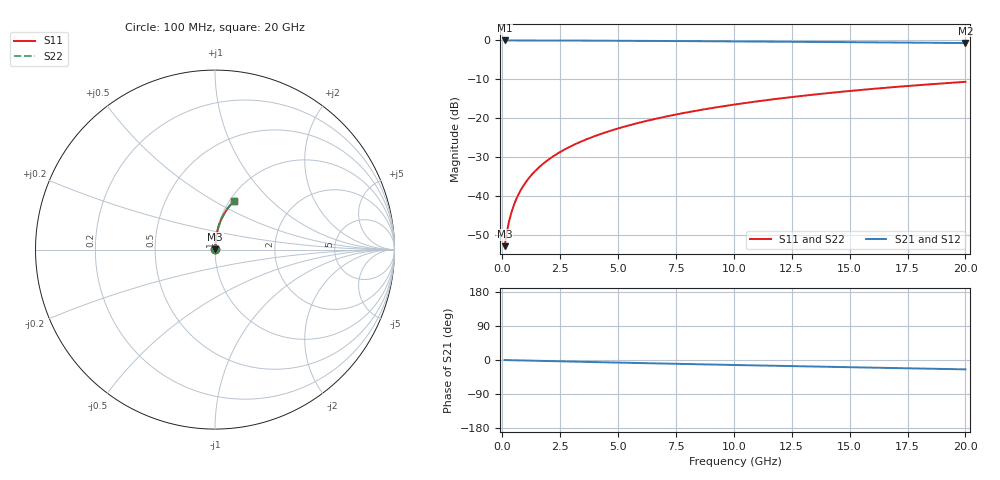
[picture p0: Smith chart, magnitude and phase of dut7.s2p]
! Touchstone file exported from HFSS 2024.1.0
!  File:  C:/UserFiles/LocalFiles/RDL_TSV_Batchsim/temp_RDL_bottom_7_1778691139.aedt
!  Generated:  12:54:47 AM May 14, 2026
!  Design:  RDL_bottom
!  Project:  temp_RDL_bottom_7_1778691139
!  Setup:  Setup1
!  Solution:  Sweep
! Variables:
!  dtsv = 10.80580581um
!  hbump = 3um
!  htsv = 76.53um
!  ldown = 291.84um
!  lrdl = 100um
!  p = 40
!  p1 = 52.63um
!  rhole = 1um
!  t = 450um
!  tdown = 4.28um
!  trdl = 3.915915916um
!  wdown = 15.7um
!  wrdl = 20um
# GHz S MA R 50.000000
! Terminal data exported
! Port[1] = RDL1_T1
! Port[2] = RDL1_T2
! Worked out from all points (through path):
!   200 points, 100 MHz to 20 GHz, reference 50 ohm
!   highest |S21| = -0.01 dB at 100 MHz (marker M1); lowest = -0.7 dB at 20 GHz (marker M2)
!   group delay of S21, straight-line fit = 3.41 ps
!   lowest |S11| = -52.9 dB at 100 MHz (marker M3), VSWR 1.00, Z = 50.2 + j0.154 ohm
!   |S11| at or under -10 dB: start of sweep to end of sweep
!   |S22| runs from -52.9 to -10.6 dB; largest |S21 - S12| = 4.1e-15
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0.1  0.00227 42.5  0.9983 -0.1  0.9983 -0.1  0.00227 42.5
! Gamma 0 0 0 0
! Port Impedance 50 0 50 0
0.2  0.003488 60.3  0.9983 -0.3  0.9983 -0.3  0.003488 60.3
0.3  0.004838 68.4  0.9982 -0.4  0.9982 -0.4  0.004838 68.4
0.4  0.006231 73.0  0.9981 -0.6  0.9981 -0.6  0.006231 73.0
0.5  0.007646 76.0  0.9981 -0.7  0.9981 -0.7  0.007646 76.0
0.6  0.009076 78.0  0.998 -0.8  0.998 -0.8  0.009076 78.0
0.8  0.01196 80.5  0.9978 -1.1  0.9978 -1.1  0.01196 80.5
1.1  0.01632 82.6  0.9976 -1.5  0.9976 -1.5  0.01632 82.6
1.5  0.02216 83.9  0.9972 -2.1  0.9972 -2.1  0.02216 83.9
1.8  0.02656 84.5  0.9968 -2.5  0.9968 -2.5  0.02656 84.5
2.1  0.03095 84.8  0.9963 -2.9  0.9963 -2.9  0.03095 84.8
2.7  0.03977 85.0  0.9952 -3.8  0.9952 -3.8  0.03977 85.0
3.5  0.05158 85.0  0.9935 -4.8  0.9935 -4.8  0.05158 85.0
4.2  0.06196 84.7  0.9917 -5.8  0.9917 -5.8  0.06196 84.7
5  0.07389 84.3  0.9893 -6.8  0.9893 -6.8  0.07389 84.3
5.9  0.08739 83.7  0.9864 -8.0  0.9864 -8.0  0.08739 83.7
6.8  0.101 82.9  0.9833 -9.2  0.9833 -9.2  0.101 82.9
8.3  0.1237 81.6  0.9777 -11.1  0.9777 -11.1  0.1237 81.6
10.1  0.151 79.7  0.9705 -13.3  0.9705 -13.3  0.151 79.7
13.4  0.2004 76.1  0.9564 -17.2  0.9564 -17.2  0.2004 76.1
16.7  0.2482 72.2  0.9412 -21.0  0.9412 -21.0  0.2482 72.2
20  0.2936 68.5  0.9249 -24.7  0.9249 -24.7  0.2936 68.5
